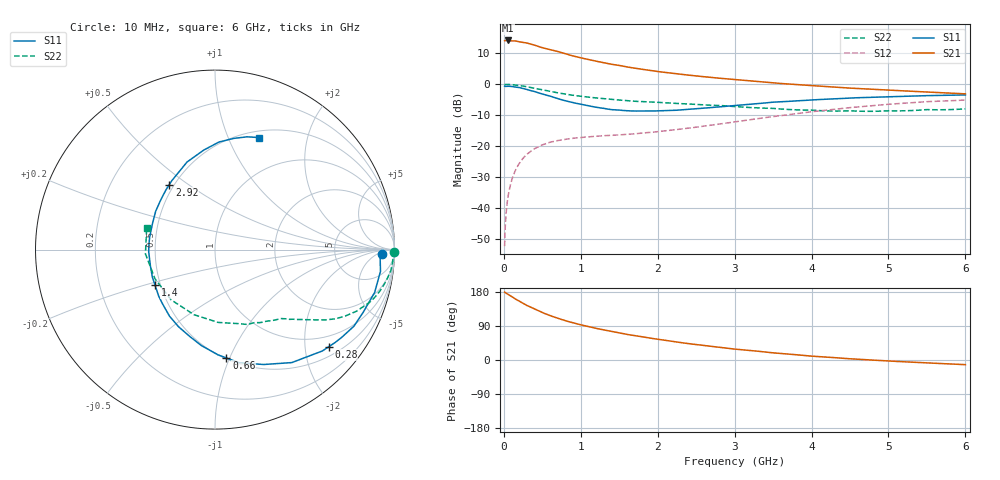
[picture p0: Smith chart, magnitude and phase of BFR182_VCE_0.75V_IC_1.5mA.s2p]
! Infineon Technologies  Discrete & RF Semiconductors
! BFR182
! VCE = 0.75 V,  IC =  1.5 mA
! Common Emitter S-Parameters:  Nov 2015
# GHz  S  MA  R  50
!  f  S11  S21  S12  S22
! GHz  MAG  ANG  MAG  ANG  MAG  ANG  MAG  ANG
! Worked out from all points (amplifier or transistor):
!   210 points, 10 MHz to 6 GHz, reference 50 ohm
!   highest |S21| = 14.2 dB at 50 MHz (marker M1)
!   |S21| within 3 dB of that: start of sweep to 611.5 MHz
!   unconditionally stable (mu >= 1): 1.532 GHz to 3.456 GHz
!   at 185 MHz: K = 0.15, MSG = 20.0 dB, |S12| = -26.2 dB
!   at 1.52 GHz: K = 0.99, MSG = 11.2 dB, |S12| = -16.4 dB
!   at 6 GHz: K = 0.97, MSG = 1.0 dB, |S12| = -5.1 dB
!   S11 on the Smith chart (normalised r, x): 10 MHz: 25, -10; 280 MHz: 0.72, -2.53; 660 MHz: 0.51, -0.97; 1.4 GHz: 0.47, -0.22; 2.92 GHz: 0.47, +0.42; 6 GHz: 0.57, +1.31
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0.01  0.9329 -1.6  5.044 179.1  0.0024 90.0  0.9965 -0.7
0.015  0.9269 -2.1  5.069 178.3  0.0039 90.1  0.9914 -1.0
0.025  0.922 -3.5  5.094 176.9  0.0068 88.6  0.9874 -1.8
0.05  0.9299 -7.5  5.103 173.9  0.014 85.4  0.9928 -3.5
0.095  0.9212 -14.2  5.026 168.6  0.0261 81.7  0.9876 -6.5
0.15  0.8986 -22.2  5.022 160.8  0.0403 76.4  0.9702 -10.3
0.28  0.8334 -40.5  4.678 146.1  0.0697 66.6  0.9188 -17.8
0.3  0.8224 -43.4  4.643 143.8  0.0738 65.4  0.9098 -18.9
0.4  0.7611 -55.8  4.288 134.6  0.0906 58.8  0.8589 -23.6
0.5  0.6955 -67.0  3.897 125.1  0.1045 53.8  0.8129 -27.2
0.66  0.6069 -84.0  3.482 113.0  0.1195 47.7  0.7425 -31.7
0.8  0.5399 -98.1  3.116 103.6  0.1285 43.8  0.6909 -34.5
1.02  0.4693 -117.0  2.638 92.0  0.1382 40.3  0.6342 -38.0
1.2  0.424 -132.8  2.36 83.4  0.1441 38.9  0.5998 -40.5
1.4  0.388 -149.1  2.103 75.2  0.1488 38.8  0.5687 -43.1
1.7  0.3687 -171.1  1.82 64.3  0.1574 41.1  0.5298 -46.5
2.02  0.3705 168.0  1.593 54.1  0.172 43.3  0.508 -51.0
2.92  0.4428 125.1  1.215 30.8  0.2379 48.3  0.4425 -69.5
3.1  0.4621 119.0  1.162 27.0  0.2563 48.0  0.4268 -74.6
4.1  0.5651 94.7  0.932 8.9  0.3699 41.5  0.3743 -112.4
5.1  0.6324 79.2  0.792 -3.7  0.4829 28.7  0.3704 -158.8
6  0.6712 68.4  0.699 -12.3  0.5547 14.5  0.3988 162.6
